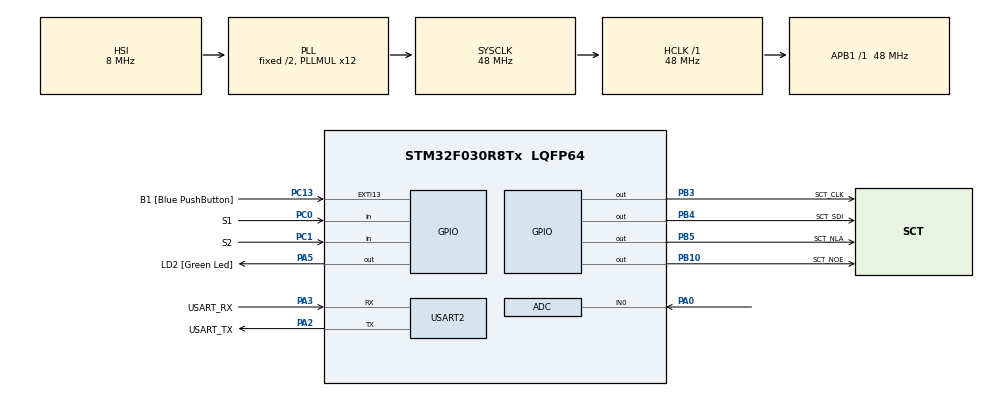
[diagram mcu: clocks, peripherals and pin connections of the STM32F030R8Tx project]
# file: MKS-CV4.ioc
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ADC.ContinuousConvMode=ENABLE
ADC.Overrun=ADC_OVR_DATA_OVERWRITTEN
ADC.SamplingTime=ADC_SAMPLETIME_239CYCLES_5
Mcu.Family=STM32F0
Mcu.Name=STM32F030R8Tx
Mcu.Package=LQFP64
NVIC.ADC1_IRQn=true\:0\:0\:false\:false\:true\:true\:true\:true
PA0.Mode=IN0
PA0.Signal=ADC_IN0
PA13.GPIO_Label=TMS
PA13.Mode=Serial_Wire
PA13.Signal=SYS_SWDIO
PA14.GPIO_Label=TCK
PA14.Mode=Serial_Wire
PA14.Signal=SYS_SWCLK
PA2.GPIO_Label=USART_TX
PA2.GPIO_Mode=GPIO_MODE_AF_PP
PA2.GPIO_PuPd=GPIO_NOPULL
PA2.GPIO_Speed=GPIO_SPEED_FREQ_LOW
PA2.Mode=Asynchronous
PA2.Signal=USART2_TX
PA3.GPIO_Label=USART_RX
PA3.GPIO_Mode=GPIO_MODE_AF_PP
PA3.GPIO_PuPd=GPIO_NOPULL
PA3.GPIO_Speed=GPIO_SPEED_FREQ_LOW
PA3.Mode=Asynchronous
PA3.Signal=USART2_RX
PA5.GPIO_Label=LD2 [Green Led]
PA5.GPIO_Mode=GPIO_MODE_OUTPUT_PP
PA5.GPIO_PuPd=GPIO_NOPULL
PA5.GPIO_Speed=GPIO_SPEED_FREQ_LOW
PA5.Signal=GPIO_Output
PB10.GPIO_Label=SCT_NOE
PB10.Signal=GPIO_Output
PB3.GPIO_Label=SCT_CLK
PB3.Signal=GPIO_Output
PB4.GPIO_Label=SCT_SDI
PB4.Signal=GPIO_Output
PB5.GPIO_Label=SCT_NLA
PB5.Signal=GPIO_Output
PC0.GPIO_Label=S1
PC0.GPIO_PuPd=GPIO_PULLUP
PC0.Signal=GPIO_Input
PC1.GPIO_Label=S2
PC1.GPIO_PuPd=GPIO_PULLUP
PC1.Signal=GPIO_Input
PC13.GPIO_Label=B1 [Blue PushButton]
PC13.GPIO_ModeDefaultEXTI=GPIO_MODE_IT_FALLING
PC13.Signal=GPXTI13
PC14-OSC32_IN.Mode=LSE-External-Oscillator
PC14-OSC32_IN.Signal=RCC_OSC32_IN
PC15-OSC32_OUT.Mode=LSE-External-Oscillator
PC15-OSC32_OUT.Signal=RCC_OSC32_OUT
PF0-OSC_IN.Mode=HSE-External-Clock-Source
PF0-OSC_IN.Signal=RCC_OSC_IN
PF1-OSC_OUT.Signal=RCC_OSC_OUT
ProjectManager.HeapSize=0x200
ProjectManager.StackSize=0x400
ProjectManager.TargetToolchain=STM32CubeIDE
RCC.AHBFreq_Value=48000000
RCC.APB1Freq_Value=48000000
RCC.APB1TimFreq_Value=48000000
RCC.HCLKFreq_Value=48000000
RCC.PLLMUL=RCC_PLL_MUL12
RCC.SYSCLKFreq_VALUE=48000000
RCC.SYSCLKSource=RCC_SYSCLKSOURCE_PLLCLK
USART2.VirtualMode-Asynchronous=VM_ASYNC
VP_ADC_TempSens_Input.Mode=IN-TempSens
VP_ADC_Vref_Input.Mode=IN-Vrefint
board=NUCLEO-F030R8

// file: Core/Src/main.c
/* USER CODE BEGIN Header */
/**
  ******************************************************************************
  * @file           : main.c
  * @brief          : Main program body
  ******************************************************************************
  * @attention
  *
  * Copyright (c) 2023 STMicroelectronics.
  * All rights reserved.
  *
  * This software is licensed under terms that can be found in the LICENSE file
  * in the root directory of this software component.
  * If no LICENSE file comes with this software, it is provided AS-IS.
  *
  ******************************************************************************
  */
/* USER CODE END Header */
#include "main.h"
#include "main.h"
#include "sct.h"
#define ADC_Q 12

/* Temperature sensor calibration value address */
#define TEMP110_CAL_ADDR ((uint16_t*) ((uint32_t) 0x1FFFF7C2))
#define TEMP30_CAL_ADDR ((uint16_t*) ((uint32_t) 0x1FFFF7B8))
/* Internal voltage reference calibration value address */
#define VREFINT_CAL_ADDR ((uint16_t*) ((uint32_t) 0x1FFFF7BA))

ADC_HandleTypeDef hadc;

UART_HandleTypeDef huart2;

void SystemClock_Config(void);
static void MX_GPIO_Init(void);
static void MX_USART2_UART_Init(void);
static void MX_ADC_Init(void);

/* USER CODE BEGIN 0 */
static volatile uint32_t raw_pot;
static volatile uint32_t raw_volt;
static volatile uint32_t raw_temp;

  void HAL_ADC_ConvCpltCallback(ADC_HandleTypeDef* hadc)
  {
	  static uint32_t channel;
static  uint32_t avg_pot;
	  switch(channel)
	  {
		  case 0:
		  {
			  raw_pot = avg_pot >> ADC_Q;
			  avg_pot -= raw_pot;
			  avg_pot += HAL_ADC_GetValue(hadc);
		  }
		  break;
		  case 1:
		  {
			  raw_temp = HAL_ADC_GetValue(hadc);
		  }
		  break;
		  case 2:
		  {
			  raw_volt = HAL_ADC_GetValue(hadc);
		  }
		  break;
	  }

	  if (__HAL_ADC_GET_FLAG(hadc, ADC_FLAG_EOS)) channel = 0;
	  else channel++;
  }
/* USER CODE END 0 */

int main(void)
{

  /* MCU Configuration--------------------------------------------------------*/

  /* Reset of all peripherals, Initializes the Flash interface and the Systick. */
  HAL_Init();

  /* Configure the system clock */
  SystemClock_Config();

  /* Initialize all configured peripherals */
  MX_GPIO_Init();
  MX_USART2_UART_Init();
  MX_ADC_Init();
  /* USER CODE BEGIN 2 */
  HAL_ADCEx_Calibration_Start(&hadc);
  HAL_ADC_Start_IT(&hadc);
  sct_init();
  static volatile uint32_t offtime = 0;
  static volatile uint32_t wait = 1000;
  /* USER CODE END 2 */

  /* Infinite loop */
  /* USER CODE BEGIN WHILE */
  while (1)
  {
	  static enum { SHOW_POT, SHOW_VOLT, SHOW_TEMP } state = SHOW_POT;

	  	  	  if(HAL_GPIO_ReadPin(S1_GPIO_Port, S1_Pin) == 0 && offtime < HAL_GetTick())
	  	  	  	  {
	  	  	  		  state = SHOW_VOLT;
	  	  	  		  offtime = HAL_GetTick() + wait;
	  	  	  	  }
	  	  	  else
	  	  	  if(HAL_GPIO_ReadPin(S2_GPIO_Port, S2_Pin) == 0 && offtime < HAL_GetTick())
	  	  	  	  {
	  	  	  		  state = SHOW_TEMP;
	  	  	  		  offtime = HAL_GetTick() + wait;
	  	  	  	  }
	  	  	  else
	  	  	  if(offtime < HAL_GetTick())
	  	  		  {
	  	  		  	  state = SHOW_POT;

	  	  		  }

	  	  	  switch(state)
	  	  	  {

	  			  case SHOW_POT:
	  			  {
	  				  sct_value((raw_pot * 501) / 4096, (raw_pot * 9) / 4096);
	  			  }
	  			  break;

	  			  case SHOW_VOLT:
	  			  {
	  				  uint32_t voltage = 330 * (*VREFINT_CAL_ADDR) / raw_volt;
	  				  sct_value(voltage, (voltage * 9) / 4096);
	  			  }
	  			  break;

	  			  case SHOW_TEMP:
	  			  {
	  				  int32_t temperature = (raw_temp - (int32_t)(*TEMP30_CAL_ADDR));
	  				  temperature = temperature * (int32_t)(110 - 30);
	  				  temperature = temperature / (int32_t)(*TEMP110_CAL_ADDR - *TEMP30_CAL_ADDR);
	  				  temperature = temperature + 30;

	  				  sct_value(temperature, (temperature * 9) / 4096);
	  			  }
	  			  break;
	  	  	  }

	  	  	  HAL_Delay(20);
    /* USER CODE END WHILE */

  }
}

void SystemClock_Config(void)
{
  RCC_OscInitTypeDef RCC_OscInitStruct = {0};
  RCC_ClkInitTypeDef RCC_ClkInitStruct = {0};

  /** Initializes the RCC Oscillators according to the specified parameters
  * in the RCC_OscInitTypeDef structure.
  */
  RCC_OscInitStruct.OscillatorType = RCC_OSCILLATORTYPE_HSI|RCC_OSCILLATORTYPE_HSI14;
  RCC_OscInitStruct.HSIState = RCC_HSI_ON;
  RCC_OscInitStruct.HSI14State = RCC_HSI14_ON;
  RCC_OscInitStruct.HSICalibrationValue = RCC_HSICALIBRATION_DEFAULT;
  RCC_OscInitStruct.HSI14CalibrationValue = 16;
  RCC_OscInitStruct.PLL.PLLState = RCC_PLL_ON;
  RCC_OscInitStruct.PLL.PLLSource = RCC_PLLSOURCE_HSI;
  RCC_OscInitStruct.PLL.PLLMUL = RCC_PLL_MUL12;
  RCC_OscInitStruct.PLL.PREDIV = RCC_PREDIV_DIV1;
  if (HAL_RCC_OscConfig(&RCC_OscInitStruct) != HAL_OK)
  {
    Error_Handler();
  }

  /** Initializes the CPU, AHB and APB buses clocks
  */
  RCC_ClkInitStruct.ClockType = RCC_CLOCKTYPE_HCLK|RCC_CLOCKTYPE_SYSCLK
                              |RCC_CLOCKTYPE_PCLK1;
  RCC_ClkInitStruct.SYSCLKSource = RCC_SYSCLKSOURCE_PLLCLK;
  RCC_ClkInitStruct.AHBCLKDivider = RCC_SYSCLK_DIV1;
  RCC_ClkInitStruct.APB1CLKDivider = RCC_HCLK_DIV1;

  if (HAL_RCC_ClockConfig(&RCC_ClkInitStruct, FLASH_LATENCY_1) != HAL_OK)
  {
    Error_Handler();
  }
}

static void MX_ADC_Init(void)
{

  ADC_ChannelConfTypeDef sConfig = {0};

  /** Configure the global features of the ADC (Clock, Resolution, Data Alignment and number of conversion)
  */
  hadc.Instance = ADC1;
  hadc.Init.ClockPrescaler = ADC_CLOCK_ASYNC_DIV1;
  hadc.Init.Resolution = ADC_RESOLUTION_12B;
  hadc.Init.DataAlign = ADC_DATAALIGN_RIGHT;
  hadc.Init.ScanConvMode = ADC_SCAN_DIRECTION_FORWARD;
  hadc.Init.EOCSelection = ADC_EOC_SINGLE_CONV;
  hadc.Init.LowPowerAutoWait = DISABLE;
  hadc.Init.LowPowerAutoPowerOff = DISABLE;
  hadc.Init.ContinuousConvMode = ENABLE;
  hadc.Init.DiscontinuousConvMode = DISABLE;
  hadc.Init.ExternalTrigConv = ADC_SOFTWARE_START;
  hadc.Init.ExternalTrigConvEdge = ADC_EXTERNALTRIGCONVEDGE_NONE;
  hadc.Init.DMAContinuousRequests = DISABLE;
  hadc.Init.Overrun = ADC_OVR_DATA_OVERWRITTEN;
  if (HAL_ADC_Init(&hadc) != HAL_OK)
  {
    Error_Handler();
  }

  /** Configure for the selected ADC regular channel to be converted.
  */
  sConfig.Channel = ADC_CHANNEL_0;
  sConfig.Rank = ADC_RANK_CHANNEL_NUMBER;
  sConfig.SamplingTime = ADC_SAMPLETIME_239CYCLES_5;
  if (HAL_ADC_ConfigChannel(&hadc, &sConfig) != HAL_OK)
  {
    Error_Handler();
  }

  /** Configure for the selected ADC regular channel to be converted.
  */
  sConfig.Channel = ADC_CHANNEL_TEMPSENSOR;
  if (HAL_ADC_ConfigChannel(&hadc, &sConfig) != HAL_OK)
  {
    Error_Handler();
  }

  /** Configure for the selected ADC regular channel to be converted.
  */
  sConfig.Channel = ADC_CHANNEL_VREFINT;
  if (HAL_ADC_ConfigChannel(&hadc, &sConfig) != HAL_OK)
  {
    Error_Handler();
  }

}

static void MX_USART2_UART_Init(void)
{

  huart2.Instance = USART2;
  huart2.Init.BaudRate = 38400;
  huart2.Init.WordLength = UART_WORDLENGTH_8B;
  huart2.Init.StopBits = UART_STOPBITS_1;
  huart2.Init.Parity = UART_PARITY_NONE;
  huart2.Init.Mode = UART_MODE_TX_RX;
  huart2.Init.HwFlowCtl = UART_HWCONTROL_NONE;
  huart2.Init.OverSampling = UART_OVERSAMPLING_16;
  huart2.Init.OneBitSampling = UART_ONE_BIT_SAMPLE_DISABLE;
  huart2.AdvancedInit.AdvFeatureInit = UART_ADVFEATURE_NO_INIT;
  if (HAL_UART_Init(&huart2) != HAL_OK)
  {
    Error_Handler();
  }

}

static void MX_GPIO_Init(void)
{
  GPIO_InitTypeDef GPIO_InitStruct = {0};

  /* GPIO Ports Clock Enable */
  __HAL_RCC_GPIOC_CLK_ENABLE();
  __HAL_RCC_GPIOF_CLK_ENABLE();
  __HAL_RCC_GPIOA_CLK_ENABLE();
  __HAL_RCC_GPIOB_CLK_ENABLE();

  /*Configure GPIO pin Output Level */
  HAL_GPIO_WritePin(LD2_GPIO_Port, LD2_Pin, GPIO_PIN_RESET);

  /*Configure GPIO pin Output Level */
  HAL_GPIO_WritePin(GPIOB, SCT_NOE_Pin|SCT_CLK_Pin|SCT_SDI_Pin|SCT_NLA_Pin, GPIO_PIN_RESET);

  /*Configure GPIO pin : B1_Pin */
  GPIO_InitStruct.Pin = B1_Pin;
  GPIO_InitStruct.Mode = GPIO_MODE_IT_FALLING;
  GPIO_InitStruct.Pull = GPIO_NOPULL;
  HAL_GPIO_Init(B1_GPIO_Port, &GPIO_InitStruct);

  /*Configure GPIO pins : S1_Pin S2_Pin */
  GPIO_InitStruct.Pin = S1_Pin|S2_Pin;
  GPIO_InitStruct.Mode = GPIO_MODE_INPUT;
  GPIO_InitStruct.Pull = GPIO_PULLUP;
  HAL_GPIO_Init(GPIOC, &GPIO_InitStruct);

  /*Configure GPIO pin : LD2_Pin */
  GPIO_InitStruct.Pin = LD2_Pin;
  GPIO_InitStruct.Mode = GPIO_MODE_OUTPUT_PP;
  GPIO_InitStruct.Pull = GPIO_NOPULL;
  GPIO_InitStruct.Speed = GPIO_SPEED_FREQ_LOW;
  HAL_GPIO_Init(LD2_GPIO_Port, &GPIO_InitStruct);

  /*Configure GPIO pins : SCT_NOE_Pin SCT_CLK_Pin SCT_SDI_Pin SCT_NLA_Pin */
  GPIO_InitStruct.Pin = SCT_NOE_Pin|SCT_CLK_Pin|SCT_SDI_Pin|SCT_NLA_Pin;
  GPIO_InitStruct.Mode = GPIO_MODE_OUTPUT_PP;
  GPIO_InitStruct.Pull = GPIO_NOPULL;
  GPIO_InitStruct.Speed = GPIO_SPEED_FREQ_LOW;
  HAL_GPIO_Init(GPIOB, &GPIO_InitStruct);

}

void Error_Handler(void)
{
  __disable_irq();
  while (1)
  {
  }
}
